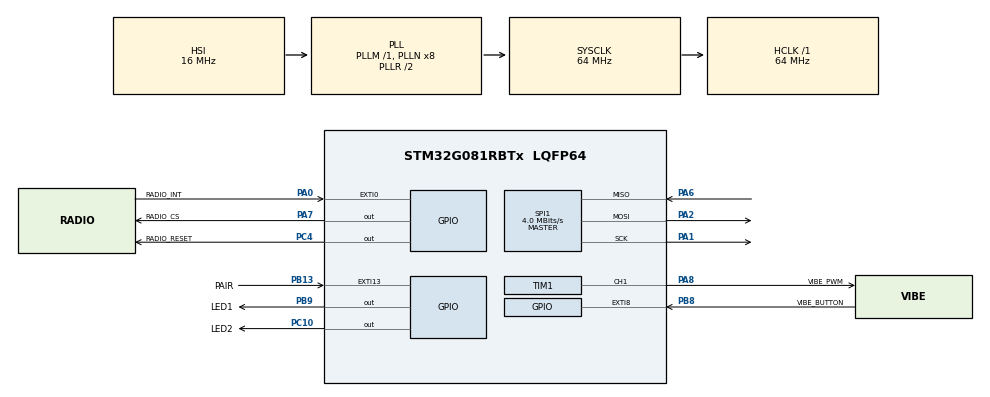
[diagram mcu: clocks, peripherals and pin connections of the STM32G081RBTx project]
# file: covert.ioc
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AES.Algorithm=CRYP_AES_CBC
AES.DataType=CRYP_DATATYPE_8B
AES.DataWidthUnit=CRYP_DATAWIDTHUNIT_BYTE
AES.HeaderWidthUnit=CRYP_HEADERWIDTHUNIT_BYTE
AES.pInitVect=5B841799 F2DBC132 3961879F 8B3F49C0
Mcu.Family=STM32G0
Mcu.Name=STM32G081RBTx
Mcu.Package=LQFP64
NVIC.EXTI0_1_IRQn=true\:1\:0\:true\:false\:true\:true\:true
NVIC.EXTI4_15_IRQn=true\:1\:0\:true\:false\:true\:true\:true
NVIC.TIM16_IRQn=true\:2\:0\:true\:false\:true\:true\:true
PA0.GPIO_Label=RADIO_INT
PA0.GPIO_ModeDefaultEXTI=GPIO_MODE_IT_RISING
PA0.GPIO_PuPd=GPIO_PULLDOWN
PA0.Signal=GPXTI0
PA1.Mode=Full_Duplex_Master
PA1.Signal=SPI1_SCK
PA13.Mode=Serial_Wire
PA13.Signal=SYS_SWDIO
PA14-BOOT0.Mode=Serial_Wire
PA14-BOOT0.Signal=SYS_SWCLK
PA2.Mode=Full_Duplex_Master
PA2.Signal=SPI1_MOSI
PA6.Mode=Full_Duplex_Master
PA6.Signal=SPI1_MISO
PA7.GPIO_Label=RADIO_CS
PA7.GPIO_PuPd=GPIO_PULLUP
PA7.Signal=GPIO_Output
PA8.GPIO_Label=VIBE_PWM
PA8.Signal=S_TIM1_CH1
PB13.GPIO_Label=PAIR
PB13.GPIO_ModeDefaultEXTI=GPIO_MODE_IT_FALLING
PB13.GPIO_PuPd=GPIO_PULLUP
PB13.Signal=GPXTI13
PB8.GPIO_Label=VIBE_BUTTON
PB8.GPIO_ModeDefaultEXTI=GPIO_MODE_IT_FALLING
PB8.GPIO_PuPd=GPIO_PULLUP
PB8.Signal=GPXTI8
PB9.GPIO_Label=LED1
PB9.Signal=GPIO_Output
PC10.GPIO_Label=LED2
PC10.Signal=GPIO_Output
PC4.GPIO_Label=RADIO_RESET
PC4.Signal=GPIO_Output
ProjectManager.HeapSize=0x200
ProjectManager.StackSize=0x400
ProjectManager.TargetToolchain=STM32CubeIDE
RCC.ADCFreq_Value=64000000
RCC.AHBFreq_Value=64000000
RCC.CortexFreq_Value=64000000
RCC.EXTERNAL_CLOCK_VALUE=48000
RCC.HCLKFreq_Value=64000000
RCC.HSE_VALUE=8000000
RCC.HSI_VALUE=16000000
RCC.LSE_VALUE=32768
RCC.SYSCLKFreq_VALUE=64000000
RCC.SYSCLKSource=RCC_SYSCLKSOURCE_PLLCLK
RCC.VCOOutputFreq_Value=128000000
SH.S_TIM1_CH1.0=TIM1_CH1,PWM Generation1 CH1
SPI1.BaudRatePrescaler=SPI_BAUDRATEPRESCALER_16
SPI1.CalculateBaudRate=4.0 MBits/s
SPI1.DataSize=SPI_DATASIZE_8BIT
SPI1.Direction=SPI_DIRECTION_2LINES
SPI1.Mode=SPI_MODE_MASTER
SPI1.VirtualType=VM_MASTER
TIM1.Channel-PWM\ Generation1\ CH1=TIM_CHANNEL_1
TIM16.Period=25000
TIM16.Prescaler=64
VP_AES_VS_AES.Mode=AES_Activate
VP_CRC_VS_CRC.Mode=CRC_Activate
VP_RNG_VS_RNG.Mode=RNG_Activate
VP_SYS_VS_DBSignals.Mode=DisableDeadBatterySignals
VP_TIM16_VS_ClockSourceINT.Mode=Enable_Timer
board=custom

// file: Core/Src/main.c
/* USER CODE BEGIN Header */
/**
 ******************************************************************************
 * @file           : main.c
 * @brief          : Main program body
 ******************************************************************************
 * @attention
 *
 * <h2><center>&copy; Copyright (c) 2021 STMicroelectronics.
 * All rights reserved.</center></h2>
 *
 * This software component is licensed by ST under BSD 3-Clause license,
 * the "License"; You may not use this file except in compliance with the
 * License. You may obtain a copy of the License at:
 *                        opensource.org/licenses/BSD-3-Clause
 *
 ******************************************************************************
 */
/* USER CODE END Header */
#include "main.h"

/* USER CODE BEGIN Includes */
#include <string.h>
#include <assert.h>
#include "crypto.h"
#include "rfm95.h"

/* USER CODE END Includes */

/* USER CODE BEGIN PTD */
typedef struct {
	uint32_t privateKey[8];
	uint8_t publicKey[32];
	uint8_t otherPublicKey[32];
	uint8_t sharedSecret[32];
	volatile uint8_t gotOther;
	volatile uint8_t masterSent;
	volatile uint8_t pairing;
} AsymmetricKeys;

typedef struct {
	volatile uint8_t enabled;
	uint8_t count;
	uint64_t data;
} Record;

typedef struct __attribute__((__packed__)) {
	uint8_t preamble;
	uint8_t deviceID;
	uint32_t sequenceNumber;
	uint64_t data;
	uint16_t _placeholder;
} Packet;

typedef struct __attribute__((__packed__)) {
	uint8_t preamble;
	uint8_t data[32];
} PublicKeyPacket;

typedef struct __attribute__((__packed__)) {
	uint8_t preamble;
	uint8_t data[16];
} KeyExchangePacket;

/* USER CODE END PTD */

/* USER CODE BEGIN PD */

#define MASTER_DEVICE 	0
#define DEVICE_ID 		1
#define RESET 			0
#define NEW_SEQ			0

#define AESKeySize 128/8 //(8 * sizeof(uint32_t));
#define PUBLIC_EXCHANGE_PREAMBLE 0b01010101
#define AES_KEY_EXCHANGE_PREAMBLE 0b10101010
#define VIBE_PREAMBLE 0b11110000
#define DUTY_CYCLE_ON 10
/* USER CODE END PD */

CRYP_HandleTypeDef hcryp;
uint32_t pKeyAES[4] __ALIGN_END = { 0x00000000,
		0x00000000, 0x00000000, 0x00000000 };
__ALIGN_BEGIN static const uint32_t pInitVectAES[4] __ALIGN_END = { 0x5B841799,
		0xF2DBC132, 0x3961879F, 0x8B3F49C0 };

CRC_HandleTypeDef hcrc;

RNG_HandleTypeDef hrng;

SPI_HandleTypeDef hspi1;

TIM_HandleTypeDef htim1;
TIM_HandleTypeDef htim16;

/* USER CODE BEGIN PV */
FLASH_EraseInitTypeDef EraseInitStruct;
FLASH_EraseInitTypeDef EraseSeqStruct;

AsymmetricKeys aKeys;
Record playback;
Record recording;
Packet outgoing;
rfm95_handle_t radio;
uint32_t deviceSeqs[256] = { 0 };

/* USER CODE END PV */

void SystemClock_Config(void);
static void MX_GPIO_Init(void);
static void MX_AES_Init(void);
static void MX_RNG_Init(void);
static void MX_CRC_Init(void);
static void MX_TIM16_Init(void);
static void MX_TIM1_Init(void);
static void MX_SPI1_Init(void);
/* USER CODE BEGIN PFP */
static void readKeyFromFlash(uint32_t *ptr, FLASH_EraseInitTypeDef *erase);
static void writeKeyToFlash(uint64_t *ptr, FLASH_EraseInitTypeDef *erase);
static uint32_t readSeqFromFlash(FLASH_EraseInitTypeDef *erase);
static void writeSeqToFlash(uint32_t seq, FLASH_EraseInitTypeDef *erase);
static void readingCallback(uint8_t *buffer, uint8_t length);
/* USER CODE END PFP */

int main(void) {

	/* MCU Configuration--------------------------------------------------------*/

	/* Reset of all peripherals, Initializes the Flash interface and the Systick. */
	HAL_Init();

	/* Configure the system clock */
	SystemClock_Config();

	/* USER CODE BEGIN SysInit */
	uint8_t testing = sizeof(Packet);
	assert(
			sizeof(PublicKeyPacket) == 33 && sizeof(KeyExchangePacket) == 17
					&& sizeof(Packet) == 16);
	// Key writing to flash
	EraseInitStruct.Banks = FLASH_BANK_1;
	EraseInitStruct.TypeErase = FLASH_TYPEERASE_PAGES;
	EraseInitStruct.Page = (FLASH_PAGE_NB - 1);
	EraseInitStruct.NbPages = 1;

	// Sequence Number storing in flash
	EraseSeqStruct.Banks = FLASH_BANK_1;
	EraseSeqStruct.TypeErase = FLASH_TYPEERASE_PAGES;
	EraseSeqStruct.Page = (FLASH_PAGE_NB - 2);
	EraseSeqStruct.NbPages = 1;

	recording.enabled = 0;
	playback.enabled = 0;

	radio.spi_handle = &hspi1;

	radio.nss_port = RADIO_CS_GPIO_Port;
	radio.nss_pin = RADIO_CS_Pin;
	radio.nrst_port = RADIO_RESET_GPIO_Port;
	radio.nrst_pin = RADIO_RESET_Pin;
	radio.irq_port = RADIO_INT_GPIO_Port;
	radio.irq_pin = RADIO_INT_Pin;

	radio.txDone = true;
	radio.rxDoneCallback = readingCallback;

	aKeys.gotOther = 0;
	aKeys.pairing = 0;
	aKeys.masterSent = 0;
	aKeys.sharedSecret[0] = 0;

	outgoing.data = 0;

	/* USER CODE END SysInit */

	/* Initialize all configured peripherals */
	MX_GPIO_Init();
	MX_AES_Init();
	MX_RNG_Init();
	MX_CRC_Init();
	MX_TIM16_Init();
	MX_TIM1_Init();
	MX_SPI1_Init();
	/* USER CODE BEGIN 2 */

	HAL_Delay(100);
	if (!rfm95_init(&radio)) {
		HAL_GPIO_WritePin(LED2_GPIO_Port, LED2_Pin, GPIO_PIN_SET);
		HAL_GPIO_WritePin(LED1_GPIO_Port, LED1_Pin, GPIO_PIN_SET);

		while (1) {

		}
	}

	HAL_TIM_Base_Start_IT(&htim16);
	HAL_TIM_PWM_Start(&htim1, TIM_CHANNEL_1);

	readKeyFromFlash(pKeyAES, &EraseInitStruct);
	// We lost our random key or we want a reset?
	if (RESET || pKeyAES[0] == 0 || pKeyAES[0] == UINT32_MAX) {
		uint64_t tmp[2];
		for (int i = 0; i < 2; i++) {
			if (HAL_RNG_GenerateRandomNumber(&hrng, &tmp[i]) != HAL_OK)
				Error_Handler();
			tmp[i] <<= 32;
			if (HAL_RNG_GenerateRandomNumber(&hrng, &tmp[i]) != HAL_OK)
				Error_Handler();
		}
		writeKeyToFlash(tmp, &EraseInitStruct);
		readKeyFromFlash(pKeyAES, &EraseInitStruct);
	}
	MX_AES_Init();

	// Generate a random sequence number for packets -- assume 2000 is the most packets we'll ever send while devices haven't rebooted
	deviceSeqs[DEVICE_ID] = readSeqFromFlash(&EraseSeqStruct);
	if (NEW_SEQ || deviceSeqs[DEVICE_ID] >= ((UINT32_MAX) >> 1)
			|| deviceSeqs[DEVICE_ID] == 0) {
		uint32_t seq = 0;
		HAL_RNG_GenerateRandomNumber(&hrng, &seq);
		seq >>= 1;
		deviceSeqs[DEVICE_ID] = seq;
	}
	deviceSeqs[DEVICE_ID] += 2000;
	writeSeqToFlash(deviceSeqs[DEVICE_ID], &EraseSeqStruct);

	// Might as well generate a public key in advance
	for (int i = 0; i < 8; i++) {
		HAL_RNG_GenerateRandomNumber(&hrng, &aKeys.privateKey[i]);
	}
	C25519keyGen((uint8_t*) aKeys.privateKey, aKeys.publicKey);

	/* USER CODE END 2 */

	/* Infinite loop */
	/* USER CODE BEGIN WHILE */
	while (1) {
		if (aKeys.pairing && aKeys.pairing++ <= 5) {
			// send our public key in plaintext.
			PublicKeyPacket tmp;
			tmp.preamble = PUBLIC_EXCHANGE_PREAMBLE;
			memcpy(tmp.data, aKeys.publicKey, sizeof(tmp.data));
			transmitPackage(&tmp, sizeof(PublicKeyPacket));
			// randomize the delay here
			uint32_t randoffset = 0;
			HAL_RNG_GenerateRandomNumber(&hrng, &randoffset);

			HAL_Delay(1000 + (randoffset & 0x7ff));
			continue;
		} else {
			aKeys.pairing = 0;
		}

		if (aKeys.gotOther) {
			C25519keyExchange(aKeys.sharedSecret, (uint8_t*) aKeys.privateKey,
					aKeys.otherPublicKey);
//			rfm95_init(&radio);
			aKeys.gotOther = 0;
			aKeys.masterSent = 1;
		}

		if (aKeys.masterSent && aKeys.masterSent++ <= 10) {
			if (MASTER_DEVICE) {
				// Save the "master's secret key" in old pkeys
				uint32_t oldPkeys[4] = { 0 };
				memcpy(oldPkeys, pKeyAES, AESKeySize);
				// move the shared secret to the AES hardware for encryption
				memcpy(pKeyAES, aKeys.sharedSecret, AESKeySize);
				MX_AES_Init();
				// Create a packet & attack the "master's key"
				KeyExchangePacket tmp;
				tmp.preamble = AES_KEY_EXCHANGE_PREAMBLE;
				memcpy(tmp.data, oldPkeys, AESKeySize);

				// Output the encrypted packet in a buffer
				uint8_t inputBuf[32] = { 0 };
				memcpy(inputBuf, &tmp, sizeof(KeyExchangePacket));
				uint8_t outputBuf[32] = { 0 };

				if (HAL_CRYP_Encrypt(&hcryp, inputBuf, 32, outputBuf, 1)
						== HAL_OK) {
					transmitPackage(outputBuf, 32);
				}
				memcpy(pKeyAES, oldPkeys, AESKeySize);
				MX_AES_Init();
			} else {
				//we're a slave device and we can just sit and wait for master count to ++
			}
			HAL_GPIO_WritePin(LED1_GPIO_Port, LED1_Pin, GPIO_PIN_RESET);
			HAL_GPIO_WritePin(LED2_GPIO_Port, LED2_Pin, GPIO_PIN_SET);
			HAL_Delay(500);
			HAL_GPIO_WritePin(LED1_GPIO_Port, LED1_Pin, GPIO_PIN_SET);
			HAL_GPIO_WritePin(LED2_GPIO_Port, LED2_Pin, GPIO_PIN_RESET);
			HAL_Delay(500);
			continue;
		} else {
			aKeys.masterSent = 0;
		}

		if (outgoing.data) {
			//encrypt and transmit the outgoing packet
			uint32_t tempin[4] = { 0 };
			uint32_t tempout[4] = { 0 };
			memcpy(tempin, &outgoing, sizeof(Packet));
			HAL_CRYP_Encrypt(&hcryp, (uint8_t*) tempin, 16, (uint8_t*) tempout,
					1);
			outgoing.data = 0;
			for (uint8_t i = 0; i < 3; i++) {
				while (!transmitPackage((uint8_t*) tempout, 16)) {
					HAL_Delay(70);
				}
			}
			continue;
		}

		HAL_GPIO_TogglePin(LED1_GPIO_Port, LED1_Pin);

//		HAL_GPIO_TogglePin(GPIOB, GPIO_PIN_9);
		HAL_Delay(250);
		/* USER CODE END WHILE */

	}
}

void SystemClock_Config(void) {
	RCC_OscInitTypeDef RCC_OscInitStruct = { 0 };
	RCC_ClkInitTypeDef RCC_ClkInitStruct = { 0 };
	RCC_PeriphCLKInitTypeDef PeriphClkInit = { 0 };

	/** Configure the main internal regulator output voltage
	 */
	HAL_PWREx_ControlVoltageScaling(PWR_REGULATOR_VOLTAGE_SCALE1);
	/** Initializes the RCC Oscillators according to the specified parameters
	 * in the RCC_OscInitTypeDef structure.
	 */
	RCC_OscInitStruct.OscillatorType = RCC_OSCILLATORTYPE_HSI;
	RCC_OscInitStruct.HSIState = RCC_HSI_ON;
	RCC_OscInitStruct.HSIDiv = RCC_HSI_DIV1;
	RCC_OscInitStruct.HSICalibrationValue = RCC_HSICALIBRATION_DEFAULT;
	RCC_OscInitStruct.PLL.PLLState = RCC_PLL_ON;
	RCC_OscInitStruct.PLL.PLLSource = RCC_PLLSOURCE_HSI;
	RCC_OscInitStruct.PLL.PLLM = RCC_PLLM_DIV1;
	RCC_OscInitStruct.PLL.PLLN = 8;
	RCC_OscInitStruct.PLL.PLLP = RCC_PLLP_DIV2;
	RCC_OscInitStruct.PLL.PLLQ = RCC_PLLQ_DIV2;
	RCC_OscInitStruct.PLL.PLLR = RCC_PLLR_DIV2;
	if (HAL_RCC_OscConfig(&RCC_OscInitStruct) != HAL_OK) {
		Error_Handler();
	}
	/** Initializes the CPU, AHB and APB buses clocks
	 */
	RCC_ClkInitStruct.ClockType = RCC_CLOCKTYPE_HCLK | RCC_CLOCKTYPE_SYSCLK
			| RCC_CLOCKTYPE_PCLK1;
	RCC_ClkInitStruct.SYSCLKSource = RCC_SYSCLKSOURCE_PLLCLK;
	RCC_ClkInitStruct.AHBCLKDivider = RCC_SYSCLK_DIV1;
	RCC_ClkInitStruct.APB1CLKDivider = RCC_HCLK_DIV1;

	if (HAL_RCC_ClockConfig(&RCC_ClkInitStruct, FLASH_LATENCY_2) != HAL_OK) {
		Error_Handler();
	}
	/** Initializes the peripherals clocks
	 */
	PeriphClkInit.PeriphClockSelection = RCC_PERIPHCLK_RNG | RCC_PERIPHCLK_TIM1;
	PeriphClkInit.RngClockSelection = RCC_RNGCLKSOURCE_HSI_DIV8;
	PeriphClkInit.Tim1ClockSelection = RCC_TIM1CLKSOURCE_PCLK1;
	if (HAL_RCCEx_PeriphCLKConfig(&PeriphClkInit) != HAL_OK) {
		Error_Handler();
	}
	/** Configure the RNG clock.
	 */
	__HAL_RCC_RNGDIV_CONFIG(RCC_RNGCLK_DIV1);
}

static void MX_AES_Init(void) {

	hcryp.Instance = AES;
	hcryp.Init.DataType = CRYP_DATATYPE_8B;
	hcryp.Init.KeySize = CRYP_KEYSIZE_128B;
	hcryp.Init.pKey = (uint32_t*) pKeyAES;
	hcryp.Init.pInitVect = (uint32_t*) pInitVectAES;
	hcryp.Init.Algorithm = CRYP_AES_CBC;
	hcryp.Init.DataWidthUnit = CRYP_DATAWIDTHUNIT_BYTE;
	hcryp.Init.HeaderWidthUnit = CRYP_HEADERWIDTHUNIT_BYTE;
	hcryp.Init.KeyIVConfigSkip = CRYP_KEYIVCONFIG_ALWAYS;
	if (HAL_CRYP_Init(&hcryp) != HAL_OK) {
		Error_Handler();
	}

}

static void MX_CRC_Init(void) {

	hcrc.Instance = CRC;
	hcrc.Init.DefaultPolynomialUse = DEFAULT_POLYNOMIAL_ENABLE;
	hcrc.Init.DefaultInitValueUse = DEFAULT_INIT_VALUE_ENABLE;
	hcrc.Init.InputDataInversionMode = CRC_INPUTDATA_INVERSION_NONE;
	hcrc.Init.OutputDataInversionMode = CRC_OUTPUTDATA_INVERSION_DISABLE;
	hcrc.InputDataFormat = CRC_INPUTDATA_FORMAT_BYTES;
	if (HAL_CRC_Init(&hcrc) != HAL_OK) {
		Error_Handler();
	}

}

static void MX_RNG_Init(void) {

	hrng.Instance = RNG;
	hrng.Init.ClockErrorDetection = RNG_CED_ENABLE;
	if (HAL_RNG_Init(&hrng) != HAL_OK) {
		Error_Handler();
	}

}

static void MX_SPI1_Init(void) {

	/* SPI1 parameter configuration*/
	hspi1.Instance = SPI1;
	hspi1.Init.Mode = SPI_MODE_MASTER;
	hspi1.Init.Direction = SPI_DIRECTION_2LINES;
	hspi1.Init.DataSize = SPI_DATASIZE_8BIT;
	hspi1.Init.CLKPolarity = SPI_POLARITY_LOW;
	hspi1.Init.CLKPhase = SPI_PHASE_1EDGE;
	hspi1.Init.NSS = SPI_NSS_SOFT;
	hspi1.Init.BaudRatePrescaler = SPI_BAUDRATEPRESCALER_16;
	hspi1.Init.FirstBit = SPI_FIRSTBIT_MSB;
	hspi1.Init.TIMode = SPI_TIMODE_DISABLE;
	hspi1.Init.CRCCalculation = SPI_CRCCALCULATION_DISABLE;
	hspi1.Init.CRCPolynomial = 7;
	hspi1.Init.CRCLength = SPI_CRC_LENGTH_DATASIZE;
	hspi1.Init.NSSPMode = SPI_NSS_PULSE_ENABLE;
	if (HAL_SPI_Init(&hspi1) != HAL_OK) {
		Error_Handler();
	}

}

static void MX_TIM1_Init(void) {

	TIM_MasterConfigTypeDef sMasterConfig = { 0 };
	TIM_OC_InitTypeDef sConfigOC = { 0 };
	TIM_BreakDeadTimeConfigTypeDef sBreakDeadTimeConfig = { 0 };

	htim1.Instance = TIM1;
	htim1.Init.Prescaler = 0;
	htim1.Init.CounterMode = TIM_COUNTERMODE_UP;
	htim1.Init.Period = 65535;
	htim1.Init.ClockDivision = TIM_CLOCKDIVISION_DIV1;
	htim1.Init.RepetitionCounter = 0;
	htim1.Init.AutoReloadPreload = TIM_AUTORELOAD_PRELOAD_DISABLE;
	if (HAL_TIM_PWM_Init(&htim1) != HAL_OK) {
		Error_Handler();
	}
	sMasterConfig.MasterOutputTrigger = TIM_TRGO_RESET;
	sMasterConfig.MasterOutputTrigger2 = TIM_TRGO2_RESET;
	sMasterConfig.MasterSlaveMode = TIM_MASTERSLAVEMODE_DISABLE;
	if (HAL_TIMEx_MasterConfigSynchronization(&htim1, &sMasterConfig)
			!= HAL_OK) {
		Error_Handler();
	}
	sConfigOC.OCMode = TIM_OCMODE_PWM1;
	sConfigOC.Pulse = 0;
	sConfigOC.OCPolarity = TIM_OCPOLARITY_HIGH;
	sConfigOC.OCNPolarity = TIM_OCNPOLARITY_HIGH;
	sConfigOC.OCFastMode = TIM_OCFAST_DISABLE;
	sConfigOC.OCIdleState = TIM_OCIDLESTATE_RESET;
	sConfigOC.OCNIdleState = TIM_OCNIDLESTATE_RESET;
	if (HAL_TIM_PWM_ConfigChannel(&htim1, &sConfigOC, TIM_CHANNEL_1)
			!= HAL_OK) {
		Error_Handler();
	}
	sBreakDeadTimeConfig.OffStateRunMode = TIM_OSSR_DISABLE;
	sBreakDeadTimeConfig.OffStateIDLEMode = TIM_OSSI_DISABLE;
	sBreakDeadTimeConfig.LockLevel = TIM_LOCKLEVEL_OFF;
	sBreakDeadTimeConfig.DeadTime = 0;
	sBreakDeadTimeConfig.BreakState = TIM_BREAK_DISABLE;
	sBreakDeadTimeConfig.BreakPolarity = TIM_BREAKPOLARITY_HIGH;
	sBreakDeadTimeConfig.BreakFilter = 0;
	sBreakDeadTimeConfig.BreakAFMode = TIM_BREAK_AFMODE_INPUT;
	sBreakDeadTimeConfig.Break2State = TIM_BREAK2_DISABLE;
	sBreakDeadTimeConfig.Break2Polarity = TIM_BREAK2POLARITY_HIGH;
	sBreakDeadTimeConfig.Break2Filter = 0;
	sBreakDeadTimeConfig.Break2AFMode = TIM_BREAK_AFMODE_INPUT;
	sBreakDeadTimeConfig.AutomaticOutput = TIM_AUTOMATICOUTPUT_DISABLE;
	if (HAL_TIMEx_ConfigBreakDeadTime(&htim1, &sBreakDeadTimeConfig)
			!= HAL_OK) {
		Error_Handler();
	}
	HAL_TIM_MspPostInit(&htim1);

}

static void MX_TIM16_Init(void) {

	htim16.Instance = TIM16;
	htim16.Init.Prescaler = 64;
	htim16.Init.CounterMode = TIM_COUNTERMODE_UP;
	htim16.Init.Period = 25000;
	htim16.Init.ClockDivision = TIM_CLOCKDIVISION_DIV1;
	htim16.Init.RepetitionCounter = 0;
	htim16.Init.AutoReloadPreload = TIM_AUTORELOAD_PRELOAD_DISABLE;
	if (HAL_TIM_Base_Init(&htim16) != HAL_OK) {
		Error_Handler();
	}

}

static void MX_GPIO_Init(void) {
	GPIO_InitTypeDef GPIO_InitStruct = { 0 };

	/* GPIO Ports Clock Enable */
	__HAL_RCC_GPIOA_CLK_ENABLE();
	__HAL_RCC_GPIOC_CLK_ENABLE();
	__HAL_RCC_GPIOB_CLK_ENABLE();

	/*Configure GPIO pin Output Level */
	HAL_GPIO_WritePin(RADIO_CS_GPIO_Port, RADIO_CS_Pin, GPIO_PIN_RESET);

	/*Configure GPIO pin Output Level */
	HAL_GPIO_WritePin(GPIOC, RADIO_RESET_Pin | LED2_Pin, GPIO_PIN_RESET);

	/*Configure GPIO pin Output Level */
	HAL_GPIO_WritePin(LED1_GPIO_Port, LED1_Pin, GPIO_PIN_RESET);

	/*Configure GPIO pin : RADIO_INT_Pin */
	GPIO_InitStruct.Pin = RADIO_INT_Pin;
	GPIO_InitStruct.Mode = GPIO_MODE_IT_RISING;
	GPIO_InitStruct.Pull = GPIO_PULLDOWN;
	HAL_GPIO_Init(RADIO_INT_GPIO_Port, &GPIO_InitStruct);

	/*Configure GPIO pin : RADIO_CS_Pin */
	GPIO_InitStruct.Pin = RADIO_CS_Pin;
	GPIO_InitStruct.Mode = GPIO_MODE_OUTPUT_PP;
	GPIO_InitStruct.Pull = GPIO_PULLUP;
	GPIO_InitStruct.Speed = GPIO_SPEED_FREQ_LOW;
	HAL_GPIO_Init(RADIO_CS_GPIO_Port, &GPIO_InitStruct);

	/*Configure GPIO pins : RADIO_RESET_Pin LED2_Pin */
	GPIO_InitStruct.Pin = RADIO_RESET_Pin | LED2_Pin;
	GPIO_InitStruct.Mode = GPIO_MODE_OUTPUT_PP;
	GPIO_InitStruct.Pull = GPIO_NOPULL;
	GPIO_InitStruct.Speed = GPIO_SPEED_FREQ_LOW;
	HAL_GPIO_Init(GPIOC, &GPIO_InitStruct);

	/*Configure GPIO pin : PAIR_Pin */
	GPIO_InitStruct.Pin = PAIR_Pin;
	GPIO_InitStruct.Mode = GPIO_MODE_IT_FALLING;
	GPIO_InitStruct.Pull = GPIO_PULLUP;
	HAL_GPIO_Init(PAIR_GPIO_Port, &GPIO_InitStruct);

	/*Configure GPIO pin : VIBE_BUTTON_Pin */
	GPIO_InitStruct.Pin = VIBE_BUTTON_Pin;
	GPIO_InitStruct.Mode = GPIO_MODE_IT_RISING_FALLING;
	GPIO_InitStruct.Pull = GPIO_PULLUP;
	HAL_GPIO_Init(VIBE_BUTTON_GPIO_Port, &GPIO_InitStruct);

	/*Configure GPIO pin : LED1_Pin */
	GPIO_InitStruct.Pin = LED1_Pin;
	GPIO_InitStruct.Mode = GPIO_MODE_OUTPUT_PP;
	GPIO_InitStruct.Pull = GPIO_NOPULL;
	GPIO_InitStruct.Speed = GPIO_SPEED_FREQ_LOW;
	HAL_GPIO_Init(LED1_GPIO_Port, &GPIO_InitStruct);

	/* EXTI interrupt init*/
	HAL_NVIC_SetPriority(EXTI0_1_IRQn, 1, 0);
	HAL_NVIC_EnableIRQ(EXTI0_1_IRQn);

	HAL_NVIC_SetPriority(EXTI4_15_IRQn, 1, 0);
	HAL_NVIC_EnableIRQ(EXTI4_15_IRQn);

}

/* USER CODE BEGIN 4 */

void HAL_GPIO_EXTI_Falling_Callback(uint16_t GPIO_Pin) {
//	To enable instant replay
//	if (GPIO_Pin == VIBE_BUTTON_Pin) {
//		TIM1->CCR1 = (DUTY_CYCLE_ON * UINT16_MAX) / 10;
//		HAL_GPIO_WritePin(LED2_GPIO_Port, LED2_Pin, GPIO_PIN_SET);
//	}

	if (recording.enabled || aKeys.pairing) {
		return;
	}
	if (GPIO_Pin == PAIR_Pin) {
		// in actual pairing
		aKeys.pairing = 1;

	} else if (GPIO_Pin == VIBE_BUTTON_Pin) {
		// on vibe button:
		recording.enabled = 1;
		recording.count = 1;
		recording.data = 1;
	}
}

void HAL_GPIO_EXTI_Rising_Callback(uint16_t GPIO_Pin) {
	if (GPIO_Pin == RADIO_INT_Pin) {
		rfm95_handleInterrupt();
	}
//	To enable instant replay
//	if (GPIO_Pin == VIBE_BUTTON_Pin) {
//		TIM1->CCR1 = 0;
//		HAL_GPIO_WritePin(LED2_GPIO_Port, LED2_Pin, GPIO_PIN_RESET);
//	}
}

void HAL_TIM_PeriodElapsedCallback(TIM_HandleTypeDef *htim) {
	if (aKeys.pairing) {
		HAL_GPIO_TogglePin(LED2_GPIO_Port, LED2_Pin);
	}
//	if (aKeys.masterSent) {
//		HAL_GPIO_TogglePin(LED1_GPIO_Port, LED1_Pin);
//	}

	if (htim == &htim16 && (recording.enabled || playback.enabled)) {

		if (playback.enabled) {
			uint64_t shifted = (playback.data >> (playback.count++));
			uint8_t state = shifted & 1;

			TIM1->CCR1 = state ? (DUTY_CYCLE_ON * UINT16_MAX) / 10 : 0;
			HAL_GPIO_WritePin(LED2_GPIO_Port, LED2_Pin,
					(state ? GPIO_PIN_SET : GPIO_PIN_RESET));

			if (playback.count >= sizeof(playback.data) * 8) {
				playback.enabled = 0;
				HAL_GPIO_WritePin(LED2_GPIO_Port, LED2_Pin, GPIO_PIN_RESET);
				TIM1->CCR1 = 0;
			}
		}

		if (recording.enabled) {
			uint64_t read = (
					HAL_GPIO_ReadPin(VIBE_BUTTON_GPIO_Port, VIBE_BUTTON_Pin)
							== GPIO_PIN_RESET ? 1 : 0);
			uint64_t state = read << (recording.count++);
			recording.data |= state;
			if (recording.count >= sizeof(recording.data) * 8) {
				// packet should be formed & sent here

				outgoing.deviceID = DEVICE_ID;
				outgoing.preamble = VIBE_PREAMBLE;
				outgoing.sequenceNumber = ++deviceSeqs[DEVICE_ID];
				outgoing.data = recording.data;

				// replay on local device:
//				playback.data = recording.data;
//				playback.enabled = 1;
//				playback.count = 0;

				recording.enabled = 0;
				if (state) {
					recording.enabled = 1;
					recording.count = 1;
					recording.data = 1;
				}

			}
		}
	}
}

static void readingCallback(uint8_t *buffer, uint8_t length) {
	if (aKeys.pairing && length == sizeof(PublicKeyPacket)) {
		PublicKeyPacket tmp;
		tmp.preamble = 0;
		memcpy(&tmp, buffer, length);
		if (tmp.preamble == PUBLIC_EXCHANGE_PREAMBLE) {
			memcpy(aKeys.otherPublicKey, tmp.data, 32);
			aKeys.gotOther = 1;
		}
	} else if (!MASTER_DEVICE && length == 32 && aKeys.masterSent) {
		// try to decrypt with shared secret
		uint32_t oldPkeys[4] = { 0 };

		memcpy(oldPkeys, pKeyAES, AESKeySize);
		memcpy(pKeyAES, aKeys.sharedSecret, AESKeySize);
		MX_AES_Init();

		uint8_t decryptRes[32] = { 0 };
		if (HAL_CRYP_Decrypt(&hcryp, buffer, length, decryptRes, 1) == HAL_OK) {
			KeyExchangePacket tmp;
			tmp.preamble = 0;
			memcpy(&tmp, decryptRes, sizeof(decryptRes));
			if (tmp.preamble == AES_KEY_EXCHANGE_PREAMBLE) {
				writeKeyToFlash((uint64_t*) tmp.data, &EraseInitStruct);

				memcpy(pKeyAES, tmp.data, AESKeySize);
				// We don't necessarily have to have this here -- we can let it keep writing
				aKeys.masterSent = 0;
			}
		} else {
			memcpy(pKeyAES, oldPkeys, AESKeySize);
		}
		MX_AES_Init();
	} else if (length == sizeof(Packet)) {
		Packet tmp;
		tmp.preamble = 0;
		if (HAL_CRYP_Decrypt(&hcryp, buffer, length, &tmp, 1) == HAL_OK
				&& tmp.preamble == VIBE_PREAMBLE
				&& tmp.sequenceNumber > deviceSeqs[tmp.deviceID]) {

			playback.data = tmp.data;
			playback.enabled = 1;
			playback.count = 0;
			deviceSeqs[tmp.deviceID] = tmp.sequenceNumber;

		}
	}
}

static void readKeyFromFlash(uint32_t *ptr, FLASH_EraseInitTypeDef *erase) {

	uint32_t addr = 0x08000000 + FLASH_PAGE_SIZE * erase->Page;
	for (int i = 0; i < AESKeySize / sizeof(uint32_t); i++) {
		ptr[i] = ((uint32_t*) addr)[i];
	}
}

static void writeKeyToFlash(uint64_t *ptr, FLASH_EraseInitTypeDef *erase) {
//801f800
	uint32_t addr = 0x08000000 + FLASH_PAGE_SIZE * erase->Page;

	uint32_t pgerr = 0;
	HAL_FLASH_Unlock();
	HAL_FLASHEx_Erase(erase, &pgerr);
	uint64_t alignedtmp[2] = { 0 };
	memcpy(alignedtmp, ptr, sizeof(alignedtmp));
	for (int i = 0; i < 2; i++) {
		uint64_t val = alignedtmp[i];
		uint32_t location = addr + (sizeof(uint64_t)) * i;
		HAL_FLASH_Program(FLASH_TYPEPROGRAM_DOUBLEWORD, location, val);
	}
	HAL_FLASH_Lock();
}

static uint32_t readSeqFromFlash(FLASH_EraseInitTypeDef *erase) {
	uint32_t addr = 0x08000000 + FLASH_PAGE_SIZE * erase->Page;
	return *((uint32_t*) addr);
}
static void writeSeqToFlash(uint32_t seq, FLASH_EraseInitTypeDef *erase) {
//801f000
	uint32_t addr = 0x08000000 + FLASH_PAGE_SIZE * erase->Page;
	uint32_t pgerr = 0;
	HAL_FLASH_Unlock();
	HAL_FLASHEx_Erase(erase, &pgerr);
	HAL_FLASH_Program(FLASH_TYPEPROGRAM_DOUBLEWORD, addr, seq);
	HAL_FLASH_Lock();
}

/* USER CODE END 4 */

void Error_Handler(void) {
	__disable_irq();
	while (1) {
	}
}

/************************ (C) COPYRIGHT STMicroelectronics *****END OF FILE****/
